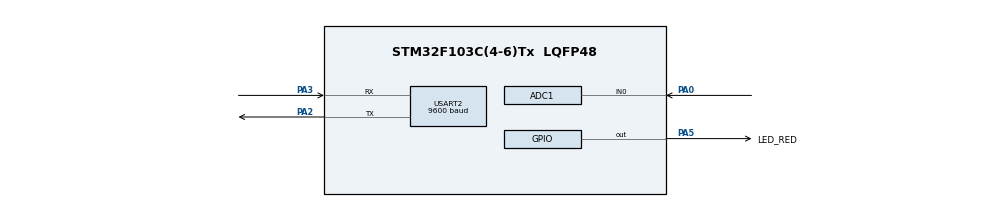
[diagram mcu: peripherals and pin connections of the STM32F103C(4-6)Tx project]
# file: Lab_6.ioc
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ADC1.Channel-0\#ChannelRegularConversion=ADC_CHANNEL_0
ADC1.ContinuousConvMode=ENABLE
ADC1.NbrOfConversionFlag=1
ADC1.Rank-0\#ChannelRegularConversion=1
ADC1.SamplingTime-0\#ChannelRegularConversion=ADC_SAMPLETIME_1CYCLE_5
ADC1.master=1
Mcu.Family=STM32F1
Mcu.Name=STM32F103C(4-6)Tx
Mcu.Package=LQFP48
NVIC.PriorityGroup=NVIC_PRIORITYGROUP_4
NVIC.TIM2_IRQn=true\:0\:0\:false\:false\:true\:true\:true
NVIC.USART2_IRQn=true\:0\:0\:false\:false\:true\:true\:true
PA0-WKUP.Signal=ADCx_IN0
PA2.Mode=Asynchronous
PA2.Signal=USART2_TX
PA3.Mode=Asynchronous
PA3.Signal=USART2_RX
PA5.GPIO_Label=LED_RED
PA5.Signal=GPIO_Output
ProjectManager.HeapSize=0x200
ProjectManager.StackSize=0x400
ProjectManager.TargetToolchain=STM32CubeIDE
RCC.APB1Freq_Value=8000000
RCC.APB2Freq_Value=8000000
SH.ADCx_IN0.0=ADC1_IN0,IN0
TIM2.Period=9
TIM2.Prescaler=7999
USART2.BaudRate=9600
USART2.VirtualMode=VM_ASYNC
VP_SYS_VS_ND.Mode=No_Debug
VP_TIM2_VS_ClockSourceINT.Mode=Internal
board=custom

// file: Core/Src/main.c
/* USER CODE BEGIN Header */
/**
  ******************************************************************************
  * @file           : main.c
  * @brief          : Main program body
  ******************************************************************************
  * @attention
  *
  * <h2><center>&copy; Copyright (c) 2021 STMicroelectronics.
  * All rights reserved.</center></h2>
  *
  * This software component is licensed by ST under BSD 3-Clause license,
  * the "License"; You may not use this file except in compliance with the
  * License. You may obtain a copy of the License at:
  *                        opensource.org/licenses/BSD-3-Clause
  *
  ******************************************************************************
  */
/* USER CODE END Header */
#include "main.h"

/* USER CODE BEGIN Includes */
#include "global.h"
#include "command_parser.h"
#include "uart_com.h"
#include "timer.h"
/* USER CODE END Includes */

ADC_HandleTypeDef hadc1;

TIM_HandleTypeDef htim2;

UART_HandleTypeDef huart2;

void SystemClock_Config(void);
static void MX_GPIO_Init(void);
static void MX_ADC1_Init(void);
static void MX_USART2_UART_Init(void);
static void MX_TIM2_Init(void);

/* USER CODE BEGIN 0 */
//uint8_t temp = 0;
//uint8_t buffer[] = {0,0,0,0,0,'\r','\n'};
//#define MAX_BUFFER_SIZE 30
//uint8_t enter[]="\r\n";
//uint8_t pData[] = "Hello\r\n";
//uint8_t buffer[MAX_BUFFER_SIZE];
//uint8_t index_buffer = 0;
//uint32_t adcValue = 0;
//int buffer_flag = 0;
//void HAL_UART_RxCpltCallBack(UART_HandleTypeDef *huart){
//	//if(huart->Instance == USART2){
//		//buffer[index_buffer++] = temp;
//		//if(index_buffer >= 100) index_buffer=0;
//		//HAL_UART_Transmit(&huart2, buffer, 7 ,50);
//		HAL_UART_Transmit(&huart2, &temp, 1 ,50);
//		//HAL_UART_Transmit(&huart2, pData, sizeof(pData) ,1000);
//		HAL_UART_Receive_IT(&huart2, &temp, 1);
//
//	//}
//
//}

//void HAL_UART_RxCpltCallback(UART_HandleTypeDef *huart){
////	buffer[index_buffer++] = temp;
////	if(index_buffer >= 30) index_buffer=0;
////	buffer_flag = 1;
//	HAL_UART_Transmit(&huart2, &temp, 1, 50);
//	HAL_UART_Receive_IT(&huart2, &temp, 1);
//}
/* USER CODE END 0 */

int main(void)
{

  /* MCU Configuration--------------------------------------------------------*/

  /* Reset of all peripherals, Initializes the Flash interface and the Systick. */
  HAL_Init();

  /* Configure the system clock */
  SystemClock_Config();

  /* Initialize all configured peripherals */
  MX_GPIO_Init();
  MX_ADC1_Init();
  MX_USART2_UART_Init();
  MX_TIM2_Init();
  /* USER CODE BEGIN 2 */

  HAL_ADC_Start(&hadc1);
  HAL_TIM_Base_Start_IT(&htim2);

  //uint32_t adcValue = 0;
  /* USER CODE END 2 */

  /* Infinite loop */
  /* USER CODE BEGIN WHILE */

  HAL_UART_Receive_IT(&huart2,&temp,1);
  setTimer0(1000);

  while (1)
  {
	  if(buffer_flag == 1) {
		  command_parser_fsm() ;
		  buffer_flag = 0;
	  }
	  uart_communication_fsm();
	  if(timer0_flag==1){
		  HAL_GPIO_TogglePin(LED_RED_GPIO_Port, LED_RED_Pin);
		  setTimer0(1000);
	  }
//
//	  HAL_Delay(1000);
    /* USER CODE END WHILE */

  }
}

void SystemClock_Config(void)
{
  RCC_OscInitTypeDef RCC_OscInitStruct = {0};
  RCC_ClkInitTypeDef RCC_ClkInitStruct = {0};
  RCC_PeriphCLKInitTypeDef PeriphClkInit = {0};

  /** Initializes the RCC Oscillators according to the specified parameters
  * in the RCC_OscInitTypeDef structure.
  */
  RCC_OscInitStruct.OscillatorType = RCC_OSCILLATORTYPE_HSI;
  RCC_OscInitStruct.HSIState = RCC_HSI_ON;
  RCC_OscInitStruct.HSICalibrationValue = RCC_HSICALIBRATION_DEFAULT;
  RCC_OscInitStruct.PLL.PLLState = RCC_PLL_NONE;
  if (HAL_RCC_OscConfig(&RCC_OscInitStruct) != HAL_OK)
  {
    Error_Handler();
  }
  /** Initializes the CPU, AHB and APB buses clocks
  */
  RCC_ClkInitStruct.ClockType = RCC_CLOCKTYPE_HCLK|RCC_CLOCKTYPE_SYSCLK
                              |RCC_CLOCKTYPE_PCLK1|RCC_CLOCKTYPE_PCLK2;
  RCC_ClkInitStruct.SYSCLKSource = RCC_SYSCLKSOURCE_HSI;
  RCC_ClkInitStruct.AHBCLKDivider = RCC_SYSCLK_DIV1;
  RCC_ClkInitStruct.APB1CLKDivider = RCC_HCLK_DIV1;
  RCC_ClkInitStruct.APB2CLKDivider = RCC_HCLK_DIV1;

  if (HAL_RCC_ClockConfig(&RCC_ClkInitStruct, FLASH_LATENCY_0) != HAL_OK)
  {
    Error_Handler();
  }
  PeriphClkInit.PeriphClockSelection = RCC_PERIPHCLK_ADC;
  PeriphClkInit.AdcClockSelection = RCC_ADCPCLK2_DIV2;
  if (HAL_RCCEx_PeriphCLKConfig(&PeriphClkInit) != HAL_OK)
  {
    Error_Handler();
  }
}

static void MX_ADC1_Init(void)
{

  ADC_ChannelConfTypeDef sConfig = {0};

  /** Common config
  */
  hadc1.Instance = ADC1;
  hadc1.Init.ScanConvMode = ADC_SCAN_DISABLE;
  hadc1.Init.ContinuousConvMode = ENABLE;
  hadc1.Init.DiscontinuousConvMode = DISABLE;
  hadc1.Init.ExternalTrigConv = ADC_SOFTWARE_START;
  hadc1.Init.DataAlign = ADC_DATAALIGN_RIGHT;
  hadc1.Init.NbrOfConversion = 1;
  if (HAL_ADC_Init(&hadc1) != HAL_OK)
  {
    Error_Handler();
  }
  /** Configure Regular Channel
  */
  sConfig.Channel = ADC_CHANNEL_0;
  sConfig.Rank = ADC_REGULAR_RANK_1;
  sConfig.SamplingTime = ADC_SAMPLETIME_1CYCLE_5;
  if (HAL_ADC_ConfigChannel(&hadc1, &sConfig) != HAL_OK)
  {
    Error_Handler();
  }

}

static void MX_TIM2_Init(void)
{

  TIM_ClockConfigTypeDef sClockSourceConfig = {0};
  TIM_MasterConfigTypeDef sMasterConfig = {0};

  htim2.Instance = TIM2;
  htim2.Init.Prescaler = 7999;
  htim2.Init.CounterMode = TIM_COUNTERMODE_UP;
  htim2.Init.Period = 9;
  htim2.Init.ClockDivision = TIM_CLOCKDIVISION_DIV1;
  htim2.Init.AutoReloadPreload = TIM_AUTORELOAD_PRELOAD_DISABLE;
  if (HAL_TIM_Base_Init(&htim2) != HAL_OK)
  {
    Error_Handler();
  }
  sClockSourceConfig.ClockSource = TIM_CLOCKSOURCE_INTERNAL;
  if (HAL_TIM_ConfigClockSource(&htim2, &sClockSourceConfig) != HAL_OK)
  {
    Error_Handler();
  }
  sMasterConfig.MasterOutputTrigger = TIM_TRGO_RESET;
  sMasterConfig.MasterSlaveMode = TIM_MASTERSLAVEMODE_DISABLE;
  if (HAL_TIMEx_MasterConfigSynchronization(&htim2, &sMasterConfig) != HAL_OK)
  {
    Error_Handler();
  }

}

static void MX_USART2_UART_Init(void)
{

  huart2.Instance = USART2;
  huart2.Init.BaudRate = 9600;
  huart2.Init.WordLength = UART_WORDLENGTH_8B;
  huart2.Init.StopBits = UART_STOPBITS_1;
  huart2.Init.Parity = UART_PARITY_NONE;
  huart2.Init.Mode = UART_MODE_TX_RX;
  huart2.Init.HwFlowCtl = UART_HWCONTROL_NONE;
  huart2.Init.OverSampling = UART_OVERSAMPLING_16;
  if (HAL_UART_Init(&huart2) != HAL_OK)
  {
    Error_Handler();
  }

}

static void MX_GPIO_Init(void)
{
  GPIO_InitTypeDef GPIO_InitStruct = {0};

  /* GPIO Ports Clock Enable */
  __HAL_RCC_GPIOA_CLK_ENABLE();

  /*Configure GPIO pin Output Level */
  HAL_GPIO_WritePin(LED_RED_GPIO_Port, LED_RED_Pin, GPIO_PIN_RESET);

  /*Configure GPIO pin : LED_RED_Pin */
  GPIO_InitStruct.Pin = LED_RED_Pin;
  GPIO_InitStruct.Mode = GPIO_MODE_OUTPUT_PP;
  GPIO_InitStruct.Pull = GPIO_NOPULL;
  GPIO_InitStruct.Speed = GPIO_SPEED_FREQ_LOW;
  HAL_GPIO_Init(LED_RED_GPIO_Port, &GPIO_InitStruct);

}

void Error_Handler(void)
{
  __disable_irq();
  while (1)
  {
  }
}

/************************ (C) COPYRIGHT STMicroelectronics *****END OF FILE****/
